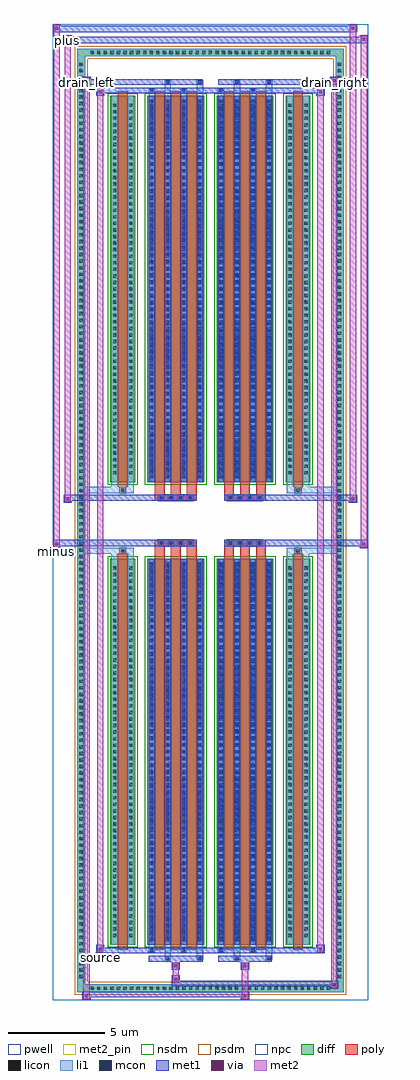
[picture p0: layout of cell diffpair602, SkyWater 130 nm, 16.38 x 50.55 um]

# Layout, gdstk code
import gdstk
lib = gdstk.Library(unit=1e-6, precision=5e-09)
def R(c, l, rs):  # rectangles x0, y0, x1, y1
    for r in rs: c.add(gdstk.rectangle(r[:2], r[2:], *l))
def A(c, l, x, y, w, h, nx, ny, dx, dy):  # array of equal rectangles
    R(c, l, [(x+i*dx, y+j*dy, x+i*dx+w, y+j*dy+h) for i in range(nx) for j in range(ny)])
def P(c, l, *ps):  # polygons
    for p in ps: c.add(gdstk.Polygon(p, *l))
pwell = (64, 44)
diff = (65, 20)
poly = (66, 20)
licon = (66, 44)
li1 = (67, 20)
mcon = (67, 44)
met1 = (68, 20)
via = (68, 44)
met2_pin = (69, 16)
met2 = (69, 20)
nsdm = (93, 44)
psdm = (94, 20)
npc = (95, 20)

diffpair602 = lib.new_cell('diffpair602')
R(diffpair602, pwell, [(-8.17,-24.84,8.17,25.71), (-5.49,-23.03,-0.01,-0.805), (0.01,-23.03,5.49,-0.805), (-5.49,0.805,-0.01,23.03), (0.01,0.805,5.49,23.03)])
A(diffpair602, diff, -6.325, -24.44, 0.41, 0.41, 37, 2, 0.34, 48.47)
A(diffpair602, diff, -6.9, -23.835, 0.41, 0.41, 1, 140, 0, 0.34)
A(diffpair602, diff, 6.49, -23.835, 0.41, 0.41, 1, 140, 0, 0.34)
R(diffpair602, diff, [(-6.325,-24.44,6.325,-24.03), (-6.9,-23.835,-6.49,23.835), (6.49,-23.835,6.9,23.835), (-5.18,-21.985,-3.9,-1.985), (-3.26,-21.985,-0.32,-1.985), (0.32,-21.985,3.26,-1.985), (3.9,-21.985,5.18,-1.985), (-5.18,1.985,-3.9,21.985), (-3.26,1.985,-0.32,21.985), (0.32,1.985,3.26,21.985), (3.9,1.985,5.18,21.985), (-6.325,24.03,6.325,24.44)])
P(diffpair602, diff, [(6.9,24.44),(-6.9,24.44),(-6.9,-24.03),(-6.49,-24.03),(-6.49,24.03),(6.49,24.03),(6.49,-24.03),(-6.49,-24.03),(-6.9,-24.03),(-6.9,-24.44),(6.9,-24.44)])
A(diffpair602, poly, -2.87, -22.235, 0.5, 20.5, 3, 2, 0.83, 23.97)
A(diffpair602, poly, 0.71, -22.235, 0.5, 20.5, 3, 2, 0.83, 23.97)
A(diffpair602, poly, -2.87, -1.735, 0.5, 0.4, 3, 2, 0.83, 3.07)
A(diffpair602, poly, 0.71, -1.735, 0.5, 0.4, 3, 2, 0.83, 3.07)
A(diffpair602, poly, -2.705, -1.335, 0.33, 0.33, 4, 2, 0.5, 2.34)
A(diffpair602, poly, 0.875, -1.335, 0.33, 0.33, 4, 2, 0.5, 2.34)
R(diffpair602, poly, [(-4.79,-22.235,-4.29,-1.735), (4.29,-22.235,4.79,-1.735), (-4.705,-1.735,-4.375,-1.405), (-4.705,-1.735,-4.375,-1.405), (4.375,-1.735,4.705,-1.405), (4.375,-1.735,4.705,-1.405), (-2.87,-1.335,-0.71,-1.005), (0.71,-1.335,2.87,-1.005), (-2.87,1.005,-0.71,1.335), (0.71,1.005,2.87,1.335), (-4.705,1.405,-4.375,1.735), (-4.705,1.405,-4.375,1.735), (4.375,1.405,4.705,1.735), (4.375,1.405,4.705,1.735), (-4.79,1.735,-4.29,22.235), (4.29,1.735,4.79,22.235)])
A(diffpair602, licon, -6.205, -24.32, 0.17, 0.17, 37, 2, 0.34, 48.47)
A(diffpair602, licon, -6.78, -23.715, 0.17, 0.17, 1, 140, 0, 0.34)
A(diffpair602, licon, 6.61, -23.715, 0.17, 0.17, 1, 140, 0, 0.34)
A(diffpair602, licon, -5.04, -21.59, 0.17, 0.17, 1, 57, 0, 0.34)
A(diffpair602, licon, -4.21, -21.59, 0.17, 0.17, 1, 57, 0, 0.34)
A(diffpair602, licon, -3.12, -21.59, 0.17, 0.17, 4, 57, 0.83, 0.34)
A(diffpair602, licon, 0.46, -21.59, 0.17, 0.17, 4, 57, 0.83, 0.34)
A(diffpair602, licon, 4.04, -21.59, 0.17, 0.17, 1, 57, 0, 0.34)
A(diffpair602, licon, 4.87, -21.59, 0.17, 0.17, 1, 57, 0, 0.34)
A(diffpair602, licon, -2.625, -1.255, 0.17, 0.17, 4, 2, 0.5, 2.34)
A(diffpair602, licon, 0.955, -1.255, 0.17, 0.17, 4, 2, 0.5, 2.34)
A(diffpair602, licon, -5.04, 2.38, 0.17, 0.17, 1, 57, 0, 0.34)
A(diffpair602, licon, -4.21, 2.38, 0.17, 0.17, 1, 57, 0, 0.34)
A(diffpair602, licon, -3.12, 2.38, 0.17, 0.17, 4, 57, 0.83, 0.34)
A(diffpair602, licon, 0.46, 2.38, 0.17, 0.17, 4, 57, 0.83, 0.34)
A(diffpair602, licon, 4.04, 2.38, 0.17, 0.17, 1, 57, 0, 0.34)
A(diffpair602, licon, 4.87, 2.38, 0.17, 0.17, 1, 57, 0, 0.34)
R(diffpair602, licon, [(-4.625,-1.655,-4.455,-1.485), (4.455,-1.655,4.625,-1.485), (-4.625,1.485,-4.455,1.655), (4.455,1.485,4.625,1.655)])
A(diffpair602, li1, -6.285, -24.4, 0.33, 0.33, 37, 2, 0.34, 48.47)
A(diffpair602, li1, -6.86, -23.795, 0.33, 0.33, 1, 140, 0, 0.34)
A(diffpair602, li1, 6.53, -23.795, 0.33, 0.33, 1, 140, 0, 0.34)
A(diffpair602, li1, -3.2, -21.985, 0.33, 20, 4, 2, 0.83, 23.97)
A(diffpair602, li1, 0.38, -21.985, 0.33, 20, 4, 2, 0.83, 23.97)
A(diffpair602, li1, -3.12, -21.79, 0.17, 0.17, 4, 55, 0.83, 0.36)
A(diffpair602, li1, -3.12, -21.79, 0.17, 19.61, 4, 2, 0.83, 23.97)
A(diffpair602, li1, 0.46, -21.79, 0.17, 0.17, 4, 55, 0.83, 0.36)
A(diffpair602, li1, 0.46, -21.79, 0.17, 19.61, 4, 2, 0.83, 23.97)
A(diffpair602, li1, -5.12, -21.67, 0.33, 0.33, 1, 57, 0, 0.34)
A(diffpair602, li1, -4.29, -21.67, 0.33, 0.33, 1, 57, 0, 0.34)
A(diffpair602, li1, -3.2, -21.67, 0.33, 0.33, 4, 57, 0.83, 0.34)
A(diffpair602, li1, 0.38, -21.67, 0.33, 0.33, 4, 57, 0.83, 0.34)
A(diffpair602, li1, 3.96, -21.67, 0.33, 0.33, 1, 57, 0, 0.34)
A(diffpair602, li1, 4.79, -21.67, 0.33, 0.33, 1, 57, 0, 0.34)
A(diffpair602, li1, -2.705, -1.335, 0.33, 0.33, 4, 2, 0.5, 2.34)
A(diffpair602, li1, 0.875, -1.335, 0.33, 0.33, 4, 2, 0.5, 2.34)
A(diffpair602, li1, -3.12, 2.18, 0.17, 0.17, 4, 55, 0.83, 0.36)
A(diffpair602, li1, 0.46, 2.18, 0.17, 0.17, 4, 55, 0.83, 0.36)
A(diffpair602, li1, -5.12, 2.3, 0.33, 0.33, 1, 57, 0, 0.34)
A(diffpair602, li1, -4.29, 2.3, 0.33, 0.33, 1, 57, 0, 0.34)
A(diffpair602, li1, -3.2, 2.3, 0.33, 0.33, 4, 57, 0.83, 0.34)
A(diffpair602, li1, 0.38, 2.3, 0.33, 0.33, 4, 57, 0.83, 0.34)
A(diffpair602, li1, 3.96, 2.3, 0.33, 0.33, 1, 57, 0, 0.34)
A(diffpair602, li1, 4.79, 2.3, 0.33, 0.33, 1, 57, 0, 0.34)
R(diffpair602, li1, [(-6.9,-24.44,-6.49,-24.03), (-6.9,-24.44,-6.49,-24.03), (-6.49,-24.44,6.49,-24.03), (6.49,-24.44,6.9,-24.03), (6.49,-24.44,6.9,-24.03), (-6.9,-24.03,-6.49,24.03), (6.49,-24.03,6.9,24.03), (-2.37,-22.79,-2.04,-21.985), (-2.29,-22.79,-2.12,-22.62), (-0.71,-22.79,-0.38,-21.985), (-0.63,-22.79,-0.46,-22.62), (1.21,-22.79,1.54,-21.985), (1.29,-22.79,1.46,-22.62), (2.87,-22.79,3.2,-21.985), (2.95,-22.79,3.12,-22.62), (-3.2,-22.36,-2.87,-21.985), (-3.12,-22.36,-2.95,-22.19), (-1.54,-22.36,-1.21,-21.985), (-1.46,-22.36,-1.29,-22.19), (0.38,-22.36,0.71,-21.985), (0.46,-22.36,0.63,-22.19), (2.04,-22.36,2.37,-21.985), (2.12,-22.36,2.29,-22.19), (-5.12,-21.985,-4.79,-1.985), (-4.29,-21.985,-3.96,-1.985), (3.96,-21.985,4.29,-1.985), (4.79,-21.985,5.12,-1.985), (-5.12,-1.985,-4.79,-1.405), (-4.29,-1.985,-3.96,-1.405), (3.96,-1.985,4.29,-1.405), (4.79,-1.985,5.12,-1.405), (-6.9,-1.735,-4.705,-1.405), (-5.12,-1.735,-4.705,-1.405), (-4.705,-1.735,-4.375,-1.405), (-4.375,-1.735,-3.96,-1.405), (3.96,-1.735,4.375,-1.405), (4.375,-1.735,4.705,-1.405), (4.375,-1.735,6.9,-1.405), (4.705,-1.735,5.12,-1.405), (-6.9,1.405,-4.705,1.735), (-5.12,1.405,-4.705,1.735), (-5.12,1.405,-4.79,1.985), (-4.705,1.405,-4.375,1.735), (-4.375,1.405,-3.96,1.735), (-4.29,1.405,-3.96,1.985), (3.96,1.405,4.375,1.735), (3.96,1.405,4.29,1.985), (4.375,1.405,4.705,1.735), (4.375,1.405,6.9,1.735), (4.705,1.405,5.12,1.735), (4.79,1.405,5.12,1.985), (-5.12,1.985,-4.79,21.985), (-4.29,1.985,-3.96,21.985), (3.96,1.985,4.29,21.985), (4.79,1.985,5.12,21.985), (-3.2,21.985,-2.87,22.36), (-2.37,21.985,-2.04,22.79), (-1.54,21.985,-1.21,22.36), (-0.71,21.985,-0.38,22.79), (0.38,21.985,0.71,22.36), (1.21,21.985,1.54,22.79), (2.04,21.985,2.37,22.36), (2.87,21.985,3.2,22.79), (-3.12,22.19,-2.95,22.36), (-1.46,22.19,-1.29,22.36), (0.46,22.19,0.63,22.36), (2.12,22.19,2.29,22.36), (-2.29,22.62,-2.12,22.79), (-0.63,22.62,-0.46,22.79), (1.29,22.62,1.46,22.79), (2.95,22.62,3.12,22.79), (-6.9,24.03,-6.49,24.44), (-6.9,24.03,-6.49,24.44), (-6.49,24.03,6.49,24.44), (6.49,24.03,6.9,24.44), (6.49,24.03,6.9,24.44)])
A(diffpair602, mcon, -3.12, -21.79, 0.17, 0.17, 4, 55, 0.83, 0.36)
A(diffpair602, mcon, 0.46, -21.79, 0.17, 0.17, 4, 55, 0.83, 0.36)
A(diffpair602, mcon, -2.625, -1.255, 0.17, 0.17, 4, 2, 0.5, 2.34)
A(diffpair602, mcon, 0.955, -1.255, 0.17, 0.17, 4, 2, 0.5, 2.34)
A(diffpair602, mcon, -3.12, 2.18, 0.17, 0.17, 4, 55, 0.83, 0.36)
A(diffpair602, mcon, 0.46, 2.18, 0.17, 0.17, 4, 55, 0.83, 0.36)
R(diffpair602, mcon, [(-2.29,-22.79,-2.12,-22.62), (-0.63,-22.79,-0.46,-22.62), (1.29,-22.79,1.46,-22.62), (2.95,-22.79,3.12,-22.62), (-3.12,-22.36,-2.95,-22.19), (-1.46,-22.36,-1.29,-22.19), (0.46,-22.36,0.63,-22.19), (2.12,-22.36,2.29,-22.19), (-3.12,22.19,-2.95,22.36), (-1.46,22.19,-1.29,22.36), (0.46,22.19,0.63,22.36), (2.12,22.19,2.29,22.36), (-2.29,22.62,-2.12,22.79), (-0.63,22.62,-0.46,22.79), (1.29,22.62,1.46,22.79), (2.95,22.62,3.12,22.79)])
A(diffpair602, met1, -3.18, -21.985, 0.29, 20, 4, 2, 0.83, 23.97)
A(diffpair602, met1, 0.4, -21.985, 0.29, 20, 4, 2, 0.83, 23.97)
A(diffpair602, met1, -3.18, -21.85, 0.29, 0.29, 4, 55, 0.83, 0.36)
A(diffpair602, met1, 0.4, -21.85, 0.29, 0.29, 4, 55, 0.83, 0.36)
A(diffpair602, met1, -2.685, -1.315, 0.29, 0.29, 4, 2, 0.5, 2.34)
A(diffpair602, met1, 0.895, -1.315, 0.29, 0.29, 4, 2, 0.5, 2.34)
A(diffpair602, met1, -3.18, 2.12, 0.29, 0.29, 4, 55, 0.83, 0.36)
A(diffpair602, met1, 0.4, 2.12, 0.29, 0.29, 4, 55, 0.83, 0.36)
R(diffpair602, met1, [(-6.63,-24.84,-6.2,-24.41), (1.575,-24.84,2.005,-24.41), (-6.63,-24.7,2.005,-24.41), (6.2,-24.27,6.63,-23.84), (-2.005,-24.13,6.63,-23.84), (-2.005,-23.99,-1.575,-23.56), (-2.005,-23.28,-1.575,-22.85), (1.575,-23.28,2.005,-22.85), (-3.18,-22.85,-0.4,-22.56), (-2.35,-22.85,-2.06,-22.56), (-0.69,-22.85,-0.4,-22.56), (0.4,-22.85,3.18,-22.56), (1.23,-22.85,1.52,-22.56), (2.89,-22.85,3.18,-22.56), (-5.92,-22.42,-5.49,-21.99), (-5.92,-22.42,-3.18,-22.13), (-3.18,-22.42,-2.89,-22.13), (-3.18,-22.42,-0.4,-22.13), (-1.52,-22.42,-1.23,-22.13), (-0.4,-22.42,0.4,-22.13), (0.4,-22.42,0.69,-22.13), (0.4,-22.42,3.18,-22.13), (2.06,-22.42,2.35,-22.13), (3.18,-22.42,5.92,-22.13), (5.49,-22.42,5.92,-21.99), (-8.17,-1.435,-7.74,-1.005), (7.74,-1.435,8.17,-1.005), (-8.17,-1.335,-0.71,-1.005), (-2.87,-1.335,-0.71,-1.005), (0.71,-1.335,2.87,-1.005), (0.71,-1.335,8.17,-1.005), (-7.6,0.905,-7.17,1.335), (7.17,0.905,7.6,1.335), (-7.6,1.005,-2.87,1.335), (-2.87,1.005,-0.71,1.335), (0.71,1.005,2.87,1.335), (2.87,1.005,7.6,1.335), (-5.92,21.99,-5.49,22.42), (5.49,21.99,5.92,22.42), (-5.92,22.13,-3.18,22.42), (-3.18,22.13,-2.89,22.42), (-3.18,22.13,-0.4,22.42), (-1.52,22.13,-1.23,22.42), (-0.4,22.13,0.4,22.42), (0.4,22.13,0.69,22.42), (0.4,22.13,3.18,22.42), (2.06,22.13,2.35,22.42), (3.18,22.13,5.92,22.42), (-6.63,22.56,-6.2,22.99), (-6.63,22.56,-3.18,22.85), (-3.18,22.56,-0.4,22.85), (-2.35,22.56,-2.06,22.85), (-0.69,22.56,-0.4,22.85), (0.4,22.56,3.18,22.85), (1.23,22.56,1.52,22.85), (2.89,22.56,3.18,22.85), (3.18,22.56,6.63,22.85), (6.2,22.56,6.63,22.99), (-7.6,24.71,-7.17,25.14), (-7.6,24.71,-5.49,25.04), (-5.49,24.71,5.49,25.04), (5.49,24.71,8.17,25.04), (7.74,24.71,8.17,25.14), (-8.17,25.28,-7.74,25.71), (-8.17,25.28,-5.49,25.61), (-5.49,25.28,5.49,25.61), (5.49,25.28,7.6,25.61), (7.17,25.28,7.6,25.71)])
R(diffpair602, via, [(-6.49,-24.7,-6.34,-24.55), (1.715,-24.7,1.865,-24.55), (6.34,-24.13,6.49,-23.98), (-1.865,-23.85,-1.715,-23.7), (-1.865,-23.14,-1.715,-22.99), (1.715,-23.14,1.865,-22.99), (-5.78,-22.28,-5.63,-22.13), (5.63,-22.28,5.78,-22.13), (-8.03,-1.295,-7.88,-1.145), (7.88,-1.295,8.03,-1.145), (-7.46,1.045,-7.31,1.195), (7.31,1.045,7.46,1.195), (-5.78,22.13,-5.63,22.28), (5.63,22.13,5.78,22.28), (-6.49,22.7,-6.34,22.85), (6.34,22.7,6.49,22.85), (-7.46,24.85,-7.31,25), (7.88,24.85,8.03,25), (-8.03,25.42,-7.88,25.57), (7.31,25.42,7.46,25.57)])
R(diffpair602, met2_pin, [(-5.955,-22.87,-5.455,-22.37), (-8.205,-1.885,-7.705,-1.385), (-6.665,22.44,-6.165,22.94), (6.165,22.44,6.665,22.94), (-7.635,24.59,-7.135,25.09)])
R(diffpair602, met2, [(-6.58,-24.79,-6.25,-24.46), (-6.58,-24.79,-6.25,22.94), (1.625,-24.79,1.955,-24.46), (1.625,-24.46,1.955,-23.23), (6.25,-24.22,6.58,-23.89), (6.25,-24.22,6.58,22.94), (-1.955,-23.94,-1.625,-23.61), (-1.955,-23.61,-1.625,-23.23), (-1.955,-23.23,-1.625,-22.9), (1.625,-23.23,1.955,-22.9), (-5.87,-22.37,-5.54,-22.04), (-5.87,-22.37,-5.54,22.37), (5.54,-22.37,5.87,-22.04), (5.54,-22.37,5.87,22.37), (-8.12,-1.385,-7.79,-1.055), (-8.12,-1.385,-7.79,25.66), (7.79,-1.385,8.12,-1.055), (7.79,-1.385,8.12,25.09), (-7.55,0.955,-7.22,1.285), (-7.55,0.955,-7.22,25.09), (7.22,0.955,7.55,1.285), (7.22,0.955,7.55,25.66), (-5.87,22.04,-5.54,22.37), (5.54,22.04,5.87,22.37), (-6.58,22.61,-6.25,22.94), (6.25,22.61,6.58,22.94), (-7.55,24.76,-7.22,25.09), (7.79,24.76,8.12,25.09), (-8.12,25.33,-7.79,25.66), (7.22,25.33,7.55,25.66)])
P(diffpair602, met2, [(8.12,-1.385),(8.12,-1.385),(8.12,-1.055),(8.12,-1.055)],
  [(8.12,24.76),(8.12,24.76),(8.12,25.09),(8.12,25.09)],
  [(-7.79,-1.385),(-7.79,-1.385),(-7.79,-1.055),(-7.79,-1.055)],
  [(-7.79,25.33),(-7.79,25.33),(-7.79,25.66),(-7.79,25.66)],
  [(7.55,0.955),(7.55,0.955),(7.55,1.285),(7.55,1.285)],
  [(7.55,25.33),(7.55,25.33),(7.55,25.66),(7.55,25.66)],
  [(-7.22,0.955),(-7.22,0.955),(-7.22,1.285),(-7.22,1.285)],
  [(-7.22,24.76),(-7.22,24.76),(-7.22,25.09),(-7.22,25.09)],
  [(-6.25,-24.79),(-6.25,-24.79),(-6.25,-24.46),(-6.25,-24.46)],
  [(-6.25,22.61),(-6.25,22.61),(-6.25,22.94),(-6.25,22.94)],
  [(6.58,-24.22),(6.58,-24.22),(6.58,-23.89),(6.58,-23.89)],
  [(6.58,22.61),(6.58,22.61),(6.58,22.94),(6.58,22.94)],
  [(-5.54,-22.37),(-5.54,-22.37),(-5.54,-22.04),(-5.54,-22.04)],
  [(-5.54,22.04),(-5.54,22.04),(-5.54,22.37),(-5.54,22.37)],
  [(5.87,-22.37),(5.87,-22.37),(5.87,-22.04),(5.87,-22.04)],
  [(5.87,22.04),(5.87,22.04),(5.87,22.37),(5.87,22.37)])
R(diffpair602, nsdm, [(-5.31,-22.115,-3.77,-1.855), (-3.39,-22.115,-0.19,-1.855), (0.19,-22.115,3.39,-1.855), (3.77,-22.115,5.31,-1.855), (-5.31,1.855,-3.77,22.115), (-3.39,1.855,-0.19,22.115), (0.19,1.855,3.39,22.115), (3.77,1.855,5.31,22.115)])
P(diffpair602, psdm, [(7.03,24.57),(-7.03,24.57),(-7.03,-23.9),(-6.36,-23.9),(-6.36,23.9),(6.36,23.9),(6.36,-23.9),(-6.36,-23.9),(-7.03,-23.9),(-7.03,-24.57),(7.03,-24.57)])
A(diffpair602, npc, -2.725, -1.355, 0.37, 0.37, 4, 2, 0.5, 2.34)
A(diffpair602, npc, 0.855, -1.355, 0.37, 0.37, 4, 2, 0.5, 2.34)
R(diffpair602, npc, [(-4.725,-1.755,-4.355,-1.385), (4.355,-1.755,4.725,-1.385), (-2.725,-1.355,-1.855,-0.985), (-2.725,-1.355,-1.855,-0.985), (-2.225,-1.355,-1.355,-0.985), (-2.225,-1.355,-1.355,-0.985), (-1.725,-1.355,-0.855,-0.985), (-1.725,-1.355,-0.855,-0.985), (0.855,-1.355,1.725,-0.985), (0.855,-1.355,1.725,-0.985), (1.355,-1.355,2.225,-0.985), (1.355,-1.355,2.225,-0.985), (1.855,-1.355,2.725,-0.985), (1.855,-1.355,2.725,-0.985), (-2.725,0.985,-1.855,1.355), (-2.725,0.985,-1.855,1.355), (-2.225,0.985,-1.355,1.355), (-2.225,0.985,-1.355,1.355), (-1.725,0.985,-0.855,1.355), (-1.725,0.985,-0.855,1.355), (0.855,0.985,1.725,1.355), (0.855,0.985,1.725,1.355), (1.355,0.985,2.225,1.355), (1.355,0.985,2.225,1.355), (1.855,0.985,2.725,1.355), (1.855,0.985,2.725,1.355), (-4.725,1.385,-4.355,1.755), (4.355,1.385,4.725,1.755)])
diffpair602.add(gdstk.Label('minus', (-7.955,-1.635), layer=69, texttype=5))
diffpair602.add(gdstk.Label('drain_right', (6.415,22.69), layer=69, texttype=5))
diffpair602.add(gdstk.Label('drain_left', (-6.415,22.69), layer=69, texttype=5))
diffpair602.add(gdstk.Label('source', (-5.705,-22.62), layer=69, texttype=5))
diffpair602.add(gdstk.Label('plus', (-7.385,24.84), layer=69, texttype=5))

lib.write_gds('diffpair602.gds')
